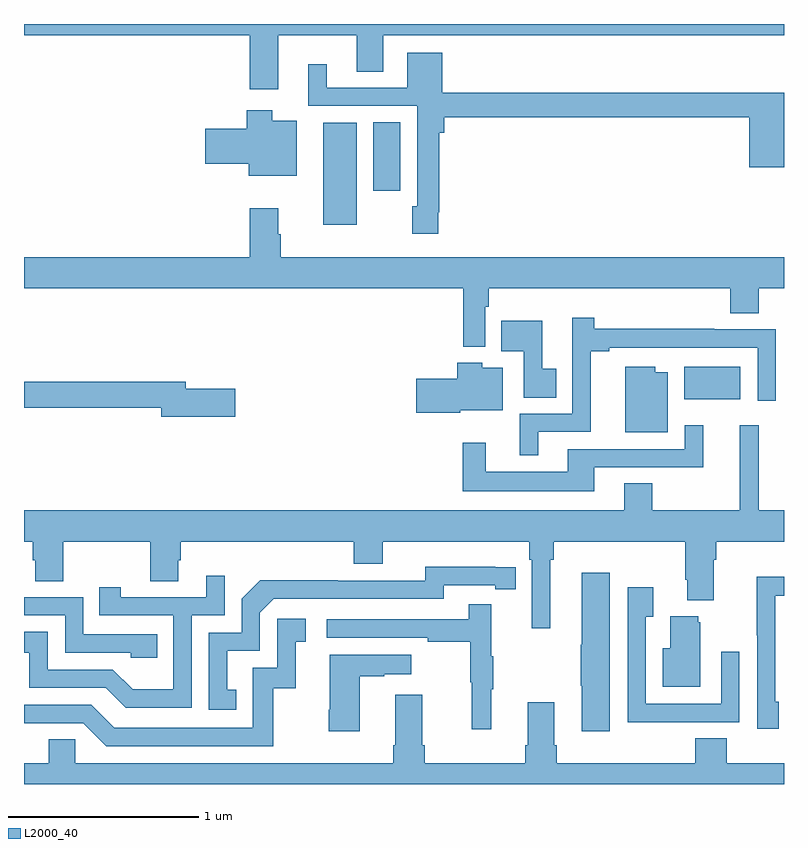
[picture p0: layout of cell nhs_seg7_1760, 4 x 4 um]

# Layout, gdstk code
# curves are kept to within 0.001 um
import gdstk
lib = gdstk.Library(unit=1e-6, precision=1e-09)
def R(c, l, rs):  # rectangles x0, y0, x1, y1
    for r in rs: c.add(gdstk.rectangle(r[:2], r[2:], *l))
def P(c, l, *ps):  # polygons
    for p in ps: c.add(gdstk.Polygon(p, *l))
L2000_40 = (2000, 40)

nhs_seg7_1760 = lib.new_cell('nhs_seg7_1760')
R(nhs_seg7_1760, L2000_40, [(234.476,1008.026,234.769,1008.196), (232.574,1008.944,232.75,1009.48), (232.838,1009.122,232.981,1009.484)])
P(nhs_seg7_1760, L2000_40, [(232.339,1009.94),(232.751,1009.94),(232.751,1009.75),(232.891,1009.75),(232.891,1009.94),(235,1009.94),(235,1010),(231,1010),(231,1009.94),(232.187,1009.94),(232.187,1009.656),(232.339,1009.656)],
  [(233.179,1009.009),(233.186,1009.009),(233.186,1009.427),(233.213,1009.427),(233.213,1009.51),(234.818,1009.51),(234.818,1009.245),(235,1009.245),(235,1009.639),(233.2,1009.639),(233.2,1009.849),(233.018,1009.849),(233.018,1009.665),(232.594,1009.665),(232.594,1009.789),(232.496,1009.789),(232.496,1009.569),(233.07,1009.569),(233.07,1009.041),(233.044,1009.041),(233.044,1008.897),(233.179,1008.897)],
  [(232.435,1009.492),(232.306,1009.492),(232.306,1009.546),(232.172,1009.546),(232.172,1009.448),(231.954,1009.448),(231.954,1009.265),(232.184,1009.265),(232.184,1009.202),(232.435,1009.202)],
  [(232.352,1008.893),(232.339,1008.893),(232.339,1009.03),(232.187,1009.03),(232.187,1008.772),(231,1008.772),(231,1008.608),(233.311,1008.608),(233.311,1008.302),(233.427,1008.302),(233.427,1008.512),(233.447,1008.512),(233.447,1008.608),(234.716,1008.608),(234.716,1008.478),(234.868,1008.478),(234.868,1008.608),(235,1008.608),(235,1008.772),(232.352,1008.772)],
  [(233.707,1007.853),(233.984,1007.853),(233.984,1008.277),(234.079,1008.277),(234.079,1008.297),(234.861,1008.297),(234.861,1008.018),(234.957,1008.018),(234.957,1008.393),(234.632,1008.393),(234.632,1008.395),(234.002,1008.395),(234.002,1008.454),(233.886,1008.454),(233.886,1007.949),(233.609,1007.949),(233.609,1007.729),(233.707,1007.729)],
  [(233.801,1008.186),(233.728,1008.186),(233.728,1008.439),(233.512,1008.439),(233.512,1008.278),(233.631,1008.278),(233.631,1008.034),(233.801,1008.034)],
  [(233.295,1007.966),(233.521,1007.966),(233.521,1008.19),(233.412,1008.19),(233.412,1008.217),(233.279,1008.217),(233.279,1008.132),(233.064,1008.132),(233.064,1007.954),(233.295,1007.954)],
  [(234.388,1008.166),(234.322,1008.166),(234.322,1008.196),(234.164,1008.196),(234.164,1007.852),(234.388,1007.852)],
  [(232.111,1008.08),(231.85,1008.08),(231.85,1008.116),(231,1008.116),(231,1007.98),(231.722,1007.98),(231.722,1007.933),(232.111,1007.933)],
  [(234.001,1007.667),(234.575,1007.667),(234.575,1007.887),(234.477,1007.887),(234.477,1007.763),(233.861,1007.763),(233.861,1007.644),(233.431,1007.644),(233.431,1007.797),(233.31,1007.797),(233.31,1007.54),(234.001,1007.54)],
  [(233.77,1007.18),(233.789,1007.18),(233.789,1007.276),(234.479,1007.276),(234.479,1007.074),(234.491,1007.074),(234.491,1006.967),(234.631,1006.967),(234.631,1007.18),(234.644,1007.18),(234.644,1007.276),(235,1007.276),(235,1007.44),(234.866,1007.44),(234.866,1007.887),(234.767,1007.887),(234.767,1007.44),(234.306,1007.44),(234.306,1007.582),(234.158,1007.582),(234.158,1007.44),(231,1007.44),(231,1007.276),(231.047,1007.276),(231.047,1007.178),(231.059,1007.178),(231.059,1007.068),(231.207,1007.068),(231.207,1007.276),(231.664,1007.276),(231.664,1007.068),(231.811,1007.068),(231.811,1007.178),(231.824,1007.178),(231.824,1007.276),(232.736,1007.276),(232.736,1007.159),(232.888,1007.159),(232.888,1007.276),(233.66,1007.276),(233.66,1007.18),(233.673,1007.18),(233.673,1006.821),(233.77,1006.821)],
  [(232.118,1006.497),(232.069,1006.497),(232.069,1006.701),(232.242,1006.701),(232.242,1006.902),(232.314,1006.974),(233.208,1006.974),(233.208,1007.046),(233.48,1007.046),(233.48,1007.026),(233.588,1007.026),(233.588,1007.142),(233.112,1007.143),(233.112,1007.07),(232.652,1007.07),(232.652,1007.072),(232.244,1007.072),(232.146,1006.974),(232.146,1006.797),(231.972,1006.797),(231.972,1006.392),(232.118,1006.392)],
  [(234.082,1007.113),(233.936,1007.113),(233.936,1006.733),(233.929,1006.733),(233.929,1006.516),(233.936,1006.516),(233.936,1006.278),(234.082,1006.278)],
  [(231.882,1006.887),(232.056,1006.887),(232.056,1007.095),(231.959,1007.095),(231.959,1006.983),(231.508,1006.983),(231.508,1007.035),(231.397,1007.035),(231.397,1006.887),(231.786,1006.887),(231.786,1006.498),(231.572,1006.498),(231.468,1006.602),(231.126,1006.602),(231.126,1006.801),(231,1006.801),(231,1006.691),(231.028,1006.691),(231.028,1006.506),(231.431,1006.506),(231.536,1006.401),(231.882,1006.401)],
  [(234.973,1006.434),(234.954,1006.434),(234.954,1006.992),(235,1006.992),(235,1007.09),(234.856,1007.09),(234.856,1006.783),(234.858,1006.783),(234.858,1006.29),(234.973,1006.29)],
  [(234.449,1006.326),(234.765,1006.326),(234.765,1006.696),(234.669,1006.696),(234.669,1006.422),(234.273,1006.422),(234.273,1006.879),(234.313,1006.879),(234.313,1007.035),(234.177,1007.035),(234.177,1006.325),(234.449,1006.325)],
  [(231.701,1006.788),(231.312,1006.788),(231.312,1006.983),(231,1006.983),(231,1006.887),(231.216,1006.887),(231.216,1006.692),(231.561,1006.692),(231.561,1006.665),(231.701,1006.665)],
  [(233.459,1006.499),(233.47,1006.499),(233.47,1006.673),(233.459,1006.673),(233.459,1006.945),(233.341,1006.945),(233.341,1006.866),(232.593,1006.866),(232.593,1006.77),(233.125,1006.77),(233.125,1006.75),(233.349,1006.75),(233.349,1006.536),(233.356,1006.536),(233.356,1006.287),(233.459,1006.287)],
  [(234.559,1006.851),(234.548,1006.851),(234.548,1006.882),(234.401,1006.882),(234.401,1006.714),(234.362,1006.714),(234.362,1006.511),(234.559,1006.511)],
  [(232.312,1006.503),(232.43,1006.503),(232.43,1006.749),(232.483,1006.749),(232.483,1006.87),(232.332,1006.87),(232.332,1006.611),(232.203,1006.611),(232.203,1006.296),(231.474,1006.296),(231.354,1006.416),(231,1006.416),(231,1006.32),(231.312,1006.32),(231.432,1006.2),(232.312,1006.2)],
  [(232.768,1006.567),(232.895,1006.567),(232.895,1006.577),(233.038,1006.577),(233.038,1006.681),(232.61,1006.681),(232.61,1006.39),(232.603,1006.39),(232.603,1006.278),(232.768,1006.278)],
  [(235,1006.108),(234.698,1006.108),(234.698,1006.241),(234.533,1006.241),(234.533,1006.108),(233.804,1006.108),(233.804,1006.204),(233.791,1006.204),(233.791,1006.429),(233.651,1006.429),(233.651,1006.204),(233.639,1006.204),(233.639,1006.108),(233.108,1006.108),(233.108,1006.204),(233.095,1006.204),(233.095,1006.471),(232.955,1006.471),(232.955,1006.204),(232.943,1006.204),(232.943,1006.108),(231.27,1006.108),(231.27,1006.235),(231.131,1006.235),(231.131,1006.108),(231,1006.108),(231,1006),(235,1006)])

lib.write_gds('nhs_seg7_1760.gds')
